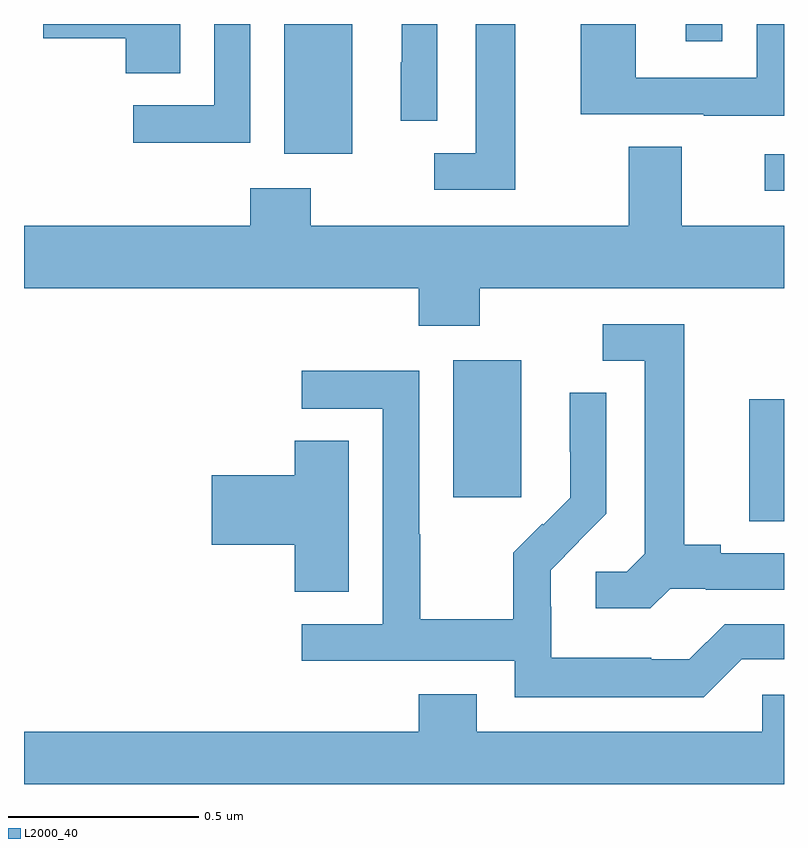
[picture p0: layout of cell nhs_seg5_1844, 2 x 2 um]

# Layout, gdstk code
import gdstk
lib = gdstk.Library(unit=1e-6, precision=1e-09)
def R(c, l, rs):  # rectangles x0, y0, x1, y1
    for r in rs: c.add(gdstk.rectangle(r[:2], r[2:], *l))
def P(c, l, *ps):  # polygons
    for p in ps: c.add(gdstk.Polygon(p, *l))
L2000_40 = (2000, 40)

nhs_seg5_1844 = lib.new_cell('nhs_seg5_1844')
R(nhs_seg5_1844, L2000_40, [(137.909,845.491,138,845.811), (137.129,845.553,137.308,845.914), (137.949,846.36,138,846.456), (136.685,846.458,136.864,846.799), (137.741,846.753,137.838,846.799)])
P(nhs_seg5_1844, L2000_40, [(138,846.799),(137.928,846.799),(137.928,846.657),(137.61,846.657),(137.61,846.799),(137.465,846.799),(137.465,846.561),(137.789,846.561),(137.789,846.557),(138,846.557)],
  [(137.293,846.799),(137.189,846.799),(137.189,846.459),(137.079,846.459),(137.079,846.363),(137.293,846.363)],
  [(137.088,846.799),(136.994,846.799),(136.994,846.698),(136.992,846.698),(136.992,846.544),(137.088,846.544)],
  [(136.411,846.799),(136.05,846.799),(136.05,846.761),(136.268,846.761),(136.268,846.67),(136.411,846.67)],
  [(136.596,846.799),(136.5,846.799),(136.5,846.585),(136.287,846.585),(136.287,846.487),(136.596,846.487)],
  [(137.199,846.104),(138,846.104),(138,846.268),(137.731,846.268),(137.731,846.476),(137.591,846.476),(137.591,846.268),(136.755,846.268),(136.755,846.367),(136.595,846.367),(136.595,846.268),(136,846.268),(136,846.104),(137.039,846.104),(137.039,846.005),(137.199,846.005)],
  [(137.7,845.313),(137.794,845.313),(137.794,845.31),(138,845.31),(138,845.406),(137.833,845.406),(137.833,845.429),(137.737,845.429),(137.737,846.009),(137.523,846.009),(137.523,845.913),(137.633,845.913),(137.633,845.405),(137.586,845.358),(137.505,845.358),(137.505,845.261),(137.648,845.261)],
  [(137.889,845.127),(138,845.127),(138,845.22),(137.844,845.22),(137.751,845.127),(137.651,845.127),(137.651,845.131),(137.388,845.131),(137.388,845.265),(137.386,845.265),(137.386,845.362),(137.46,845.436),(137.459,845.437),(137.532,845.51),(137.532,845.828),(137.436,845.828),(137.436,845.674),(137.438,845.674),(137.438,845.552),(137.367,845.481),(137.364,845.484),(137.287,845.407),(137.287,845.233),(137.043,845.233),(137.043,845.456),(137.04,845.456),(137.04,845.886),(136.731,845.886),(136.731,845.787),(136.944,845.787),(136.944,845.22),(136.731,845.22),(136.731,845.124),(137.292,845.124),(137.292,845.027),(137.789,845.027)],
  [(136.855,845.702),(136.712,845.702),(136.712,845.612),(136.494,845.612),(136.494,845.429),(136.712,845.429),(136.712,845.305),(136.855,845.305)],
  [(138,845.034),(137.943,845.034),(137.943,844.936),(137.191,844.936),(137.191,845.035),(137.039,845.035),(137.039,844.936),(136,844.936),(136,844.799),(138,844.799)])

lib.write_gds('nhs_seg5_1844.gds')
